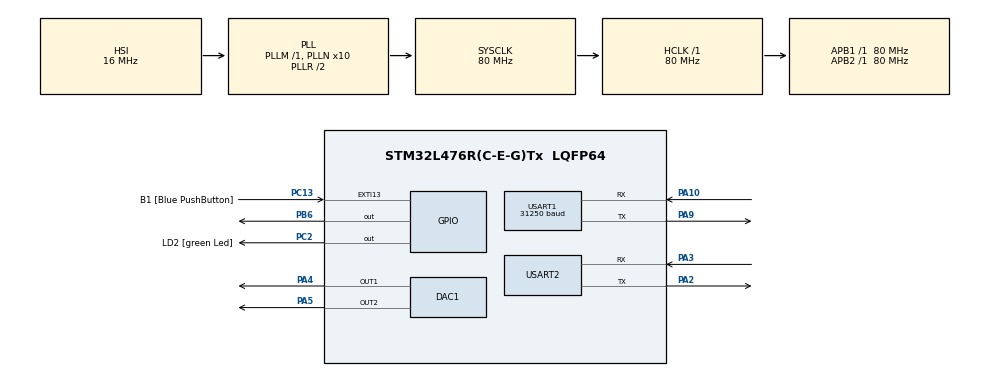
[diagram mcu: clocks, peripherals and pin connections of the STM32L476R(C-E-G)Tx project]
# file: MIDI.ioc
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DAC1.DAC_Channel-DAC_OUT2=DAC_CHANNEL_2
Mcu.Family=STM32L4
Mcu.Name=STM32L476R(C-E-G)Tx
Mcu.Package=LQFP64
NVIC.PriorityGroup=NVIC_PRIORITYGROUP_4
NVIC.USART1_IRQn=true\:0\:0\:false\:false\:true\:true\:true
NVIC.USART2_IRQn=true\:0\:0\:false\:false\:true\:true\:true
PA10.Mode=Asynchronous
PA10.Signal=USART1_RX
PA13\ (JTMS-SWDIO).GPIO_Label=TMS
PA13\ (JTMS-SWDIO).Mode=Serial_Wire
PA13\ (JTMS-SWDIO).Signal=SYS_JTMS-SWDIO
PA14\ (JTCK-SWCLK).GPIO_Label=TCK
PA14\ (JTCK-SWCLK).Mode=Serial_Wire
PA14\ (JTCK-SWCLK).Signal=SYS_JTCK-SWCLK
PA2.Mode=Asynchronous
PA2.Signal=USART2_TX
PA3.Mode=Asynchronous
PA3.Signal=USART2_RX
PA4.Signal=COMP_DAC11_group
PA5.Signal=COMP_DAC12_group
PA9.Mode=Asynchronous
PA9.Signal=USART1_TX
PB3\ (JTDO-TRACESWO).GPIO_Label=SWO
PB3\ (JTDO-TRACESWO).Signal=SYS_JTDO-SWO
PB6.Signal=GPIO_Output
PC13.GPIO_Label=B1 [Blue PushButton]
PC13.GPIO_ModeDefaultEXTI=GPIO_MODE_IT_FALLING
PC13.GPIO_PuPd=GPIO_NOPULL
PC13.Signal=GPXTI13
PC14-OSC32_IN\ (PC14).Mode=LSE-External-Oscillator
PC14-OSC32_IN\ (PC14).Signal=RCC_OSC32_IN
PC15-OSC32_OUT\ (PC15).Mode=LSE-External-Oscillator
PC15-OSC32_OUT\ (PC15).Signal=RCC_OSC32_OUT
PC2.GPIO_Label=LD2 [green Led]
PC2.Signal=GPIO_Output
PH0-OSC_IN\ (PH0).Signal=RCC_OSC_IN
PH1-OSC_OUT\ (PH1).Signal=RCC_OSC_OUT
ProjectManager.HeapSize=0x200
ProjectManager.StackSize=0x400
ProjectManager.TargetToolchain=STM32CubeIDE
RCC.ADCFreq_Value=64000000
RCC.AHBFreq_Value=80000000
RCC.APB1Freq_Value=80000000
RCC.APB1TimFreq_Value=80000000
RCC.APB2Freq_Value=80000000
RCC.APB2TimFreq_Value=80000000
RCC.CortexFreq_Value=80000000
RCC.HCLKFreq_Value=80000000
RCC.HSE_VALUE=8000000
RCC.HSI_VALUE=16000000
RCC.MSI_VALUE=4000000
RCC.PLLN=10
RCC.PLLSourceVirtual=RCC_PLLSOURCE_HSI
RCC.PREFETCH_ENABLE=1
RCC.SYSCLKFreq_VALUE=80000000
RCC.SYSCLKSource=RCC_SYSCLKSOURCE_PLLCLK
RCC.USBFreq_Value=64000000
RCC.VCOOutputFreq_Value=160000000
SH.COMP_DAC11_group.0=DAC1_OUT1,DAC_OUT1
SH.COMP_DAC12_group.0=DAC1_OUT2,DAC_OUT2
USART1.BaudRate=31250
USART1.VirtualMode-Asynchronous=VM_ASYNC
USART2.VirtualMode-Asynchronous=VM_ASYNC
board=NUCLEO-L476RG

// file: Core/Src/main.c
/* USER CODE BEGIN Header */
/**
 ******************************************************************************
 * @file           : main.c
 * @brief          : Main program body
 ******************************************************************************
 * @attention
 *
 * <h2><center>&copy; Copyright (c) 2021 STMicroelectronics.
 * All rights reserved.</center></h2>
 *
 * This software component is licensed by ST under BSD 3-Clause license,
 * the "License"; You may not use this file except in compliance with the
 * License. You may obtain a copy of the License at:
 *                        opensource.org/licenses/BSD-3-Clause
 *
 ******************************************************************************
 */
#define CIRC_BBUF_DEF(x,y)                \
    uint8_t x##_data_space[y];            \
    circ_bbuf_t x = {                     \
        .buffer = x##_data_space,         \
        .head = 0,                        \
        .tail = 0,                        \
        .maxlen = y                       \
    }
/* USER CODE END Header */
#include "main.h"

/* USER CODE BEGIN Includes */
#include <stdio.h>
#include <stdlib.h>
#include <string.h>
/* USER CODE END Includes */

/* USER CODE BEGIN PTD */
typedef struct {
	uint8_t *const buffer;
	int head;
	int tail;
	const int maxlen;
} circ_bbuf_t;
/* USER CODE END PTD */

DAC_HandleTypeDef hdac1;

UART_HandleTypeDef huart1;
UART_HandleTypeDef huart2;

/* USER CODE BEGIN PV */
uint8_t received = 0;
uint8_t current_MIDI_note = 0;
const uint8_t MIDI_note_number_offset = 48;
const uint8_t number_of_notes = 33;

const uint16_t default_pitch_bend_value = 8192;
uint16_t current_pitch_bend = 8192;
const uint16_t DAC_OUT[33] = { 124, 248, 372, 496, 620, 745, 869, 993, 1117, 1241, 1365, 1482, 		// 0.1V - 1.2V
		1608, 1730, 1855, 1980, 2100, 2220, 2345, 2470, 2590, 2710, 2835, 2960, // 1.3V - 2.4V
		3075, 3205, 3330, 3450, 3570, 3690, 3820, 3945, 4095, 	// 2.5V - 3.3V
		};

CIRC_BBUF_DEF(data_buffer, 16);

/* USER CODE END PV */

void SystemClock_Config(void);
static void MX_GPIO_Init(void);
static void MX_USART1_UART_Init(void);
static void MX_DAC1_Init(void);
static void MX_USART2_UART_Init(void);
/* USER CODE BEGIN PFP */
/* Private function prototypes -----------------------------------------------*/
int circ_bbuf_push(circ_bbuf_t *c, uint8_t data) {
	int next;

	next = c->head + 1;  // next is where head will point to after this write.
	if (next >= c->maxlen)
		next = 0;

	if (next == c->tail)  // if the head + 1 == tail, circular buffer is full
		return -1;

	c->buffer[c->head] = data;  // Load data and then move
	c->head = next;             // head to next data offset.
	return 0;  // return success to indicate successful push.
}

int circ_bbuf_pop(circ_bbuf_t *c, uint8_t *data) {
	int next;

	if (c->head == c->tail)  // if the head == tail, we don't have any data
		return -1;

	next = c->tail + 1;  // next is where tail will point to after this read.
	if (next >= c->maxlen)
		next = 0;

	*data = c->buffer[c->tail];  // Read data and then move
	c->tail = next;              // tail to next offset.
	return 0;  // return success to indicate successful push.
}

void HAL_UART_RxCpltCallback(UART_HandleTypeDef *huart) {
	circ_bbuf_push(&data_buffer, received);
	HAL_UART_Receive_IT(&huart2, &received, 1); // Start listening again for UART messages over USB
	HAL_UART_Receive_IT(&huart1, &received, 1); // Start listening again for UART messages over PIN D2/PA10
	/*
	uint8_t data_received[20] = "data received\r\n";
	uint16_t data_received_size = 20;
	*/
	// HAL_UART_Transmit(&huart2, "rec\r\n", strlen("rec\r\n"), 1000);
}

void print_uart(char message[], uint16_t byte) {
    uint8_t message_to_print[50];
    uint16_t message_to_print_size = 0;

    message_to_print_size = sprintf(message_to_print, message, byte, byte, byte);
    HAL_UART_Transmit(&huart2, message_to_print, message_to_print_size, 1000); // Send data over UART
}

void debug_led_set() {
	HAL_GPIO_WritePin(GPIOC, GPIO_PIN_2, GPIO_PIN_SET);
}

void debug_led_unset() {
	HAL_GPIO_WritePin(GPIOC, GPIO_PIN_2, GPIO_PIN_RESET);
}

void debug_message() {
	for (int i = 0; i < 5; i++) {
		debug_led_unset();
		HAL_Delay(100);
		debug_led_set();
		HAL_Delay(100);
	}
	debug_led_unset();
}

uint16_t calculate_pitch() {
	float pitch_bend_percent = 0;
	uint16_t result_pitch = DAC_OUT[current_MIDI_note - MIDI_note_number_offset];

	// Check if pitch bend in default state
	if (current_pitch_bend == default_pitch_bend_value)
		return result_pitch;

	// Pitch bend up to +0.2V
	if (current_pitch_bend > default_pitch_bend_value) {
		//debug_message();
		pitch_bend_percent = (current_pitch_bend - (default_pitch_bend_value - 1)) / 8192.0;
		result_pitch += (uint16_t) DAC_OUT[1] * pitch_bend_percent;

		// Pitch bend down to -0.2V
	} else if (current_pitch_bend < default_pitch_bend_value) {
		// debug_message();
		pitch_bend_percent = abs(current_pitch_bend - default_pitch_bend_value) / 8192.0;
		result_pitch -= (uint16_t) DAC_OUT[1] * pitch_bend_percent;
	}

	return result_pitch;
}

uint16_t calculate_modulation(uint8_t modulation_value) {
	float modulation_percent = modulation_value / 127.0;
	return (uint16_t) DAC_OUT[number_of_notes - 1] * modulation_percent;
}

void set_gate() {
	HAL_GPIO_WritePin(GPIOB, GPIO_PIN_6, GPIO_PIN_SET);
}

void unset_gate() {
	HAL_GPIO_WritePin(GPIOB, GPIO_PIN_6, GPIO_PIN_RESET);
}

void set_pitch(uint16_t value) {
	print_uart("  PITCH: 0x%x => %u \r\n", value);
	DAC1->DHR12R1 = value;
}

void set_modulation(uint16_t value) {
	print_uart("  MODULATION: 0x%x => %u \r\n", value);
	DAC1->DHR12R2 = value;
}

void parse_MIDI_message() {
	uint8_t MIDI_byte = 0, MIDI_note = 0, note_index = 0;

	// pop 1st MIDI byte (MIDI Status)
	if (circ_bbuf_pop(&data_buffer, &MIDI_byte) == -1) {
		return; // return if buffet is empty
	}
	print_uart("  Status: 0x%x => %u \r\n", MIDI_byte);

	// NOTE ON
	if (MIDI_byte >> 4 == 0b1001) {
		debug_led_set(); // LED ON

		circ_bbuf_pop(&data_buffer, &MIDI_byte); // pop 2nd MIDI byte (MIDI note)
		print_uart("  Note on: 0x%x => %u \r\n", MIDI_byte);

		note_index = MIDI_byte - MIDI_note_number_offset; // MIDI_byte - 48
		MIDI_note = MIDI_byte;

		circ_bbuf_pop(&data_buffer, &MIDI_byte); // pop 3rd MIDI byte (MIDI Velocity)
		print_uart("  Velocity: 0x%x => %u \r\n", MIDI_byte);

		// NOTE ON + Velocity = 0 --> NOTE OFF
		if (MIDI_byte == 0 && current_MIDI_note == MIDI_note) {
			set_pitch(0); // set PITCH to 0
			unset_gate(); // unset GATE
		} else if (note_index <= number_of_notes && MIDI_note >= MIDI_note_number_offset) {
			current_MIDI_note = MIDI_note; // set note to global variable
			set_pitch(calculate_pitch()); // set pitch to calculated value
			set_gate(); // set GATE
		}
		// NOTE OFF
	} else if (MIDI_byte >> 4 == 0b1000) {
		circ_bbuf_pop(&data_buffer, &MIDI_byte); // pop 2nd  MIDI byte (MIDI Note)
		print_uart("  Note off: 0x%x => %u \r\n", MIDI_byte);

		note_index = MIDI_byte - MIDI_note_number_offset; // MIDI_byte - 48
		MIDI_note = MIDI_byte;

		circ_bbuf_pop(&data_buffer, &MIDI_byte); // pop 3rd MIDI byte (MIDI Velocity)
		print_uart("  Velocity: 0x%x => %u \r\n", MIDI_byte);

		// check if released note = current MIDI note
		if (MIDI_note == current_MIDI_note) {
			debug_led_unset(); // LED OFF
			set_pitch(0); // set PITCH to 0
			unset_gate(); // unset GATE
		}
		// PITCH BEND
	} else if (MIDI_byte >> 4 == 0b1110) {
		uint8_t msb = 0; // most significant byte
		uint8_t lsb = 0; // least significant byte

		// debug_led_unset(); // LED OFF

		circ_bbuf_pop(&data_buffer, &lsb); // pop 2nd MIDI byte (least significant byte)
		print_uart("  LSB: 0x%x => %u \r\n", lsb);

		circ_bbuf_pop(&data_buffer, &msb); // pop 3rd MIDI byte (most significant byte)
		print_uart("  MSB: 0x%x => %u \r\n", msb);

		current_pitch_bend = (msb << 7) + lsb; // calculate pitch_bend
		print_uart("  MSB << 7: 0x%x => %u \r\n", msb << 7);
		print_uart("  Pitch bend: 0x%x => %u \r\n", current_pitch_bend);

		set_pitch(calculate_pitch()); // set pitch to calculated value

		// MODULATION (CONTROL CHANGE)
	} else if (MIDI_byte >> 4 == 0b1011) {
		uint8_t modulation_value = 0;
		debug_led_set();

		circ_bbuf_pop(&data_buffer, &MIDI_byte); // pop 2nd MIDI byte (controller number)
		print_uart("  Controller Number: 0x%x => %u \r\n", MIDI_byte);

		circ_bbuf_pop(&data_buffer, &MIDI_byte); // pop 3rd MIDI byte (actual value)
		print_uart("  Value: 0x%x => %u \r\n", MIDI_byte);

		modulation_value = MIDI_byte;

		set_modulation(calculate_modulation(modulation_value));
		// WRONG STATUS
	} else {
		return;
	}
}
/* USER CODE END PFP */

int main(void)
{

  /* MCU Configuration--------------------------------------------------------*/

  /* Reset of all peripherals, Initializes the Flash interface and the Systick. */
  HAL_Init();

  /* USER CODE BEGIN Init */
	set_pitch(0);
	set_gate(0);
	set_modulation(0);
  /* USER CODE END Init */

  /* Configure the system clock */
  SystemClock_Config();

  /* Initialize all configured peripherals */
  MX_GPIO_Init();
  MX_USART1_UART_Init();
  MX_DAC1_Init();
  MX_USART2_UART_Init();
  /* USER CODE BEGIN 2 */
	HAL_UART_Receive_IT(&huart2, &received, 1);
	HAL_UART_Receive_IT(&huart1, &received, 1);
  /* USER CODE END 2 */

  /* Infinite loop */
  /* USER CODE BEGIN WHILE */
	HAL_DAC_Start(&hdac1, DAC1_CHANNEL_1);
	HAL_DAC_Start(&hdac1, DAC1_CHANNEL_2);
	while (1) {
		parse_MIDI_message();
    /* USER CODE END WHILE */

	}
}

void SystemClock_Config(void)
{
  RCC_OscInitTypeDef RCC_OscInitStruct = {0};
  RCC_ClkInitTypeDef RCC_ClkInitStruct = {0};

  /** Configure the main internal regulator output voltage
  */
  if (HAL_PWREx_ControlVoltageScaling(PWR_REGULATOR_VOLTAGE_SCALE1) != HAL_OK)
  {
    Error_Handler();
  }
  /** Initializes the RCC Oscillators according to the specified parameters
  * in the RCC_OscInitTypeDef structure.
  */
  RCC_OscInitStruct.OscillatorType = RCC_OSCILLATORTYPE_HSI;
  RCC_OscInitStruct.HSIState = RCC_HSI_ON;
  RCC_OscInitStruct.HSICalibrationValue = RCC_HSICALIBRATION_DEFAULT;
  RCC_OscInitStruct.PLL.PLLState = RCC_PLL_ON;
  RCC_OscInitStruct.PLL.PLLSource = RCC_PLLSOURCE_HSI;
  RCC_OscInitStruct.PLL.PLLM = 1;
  RCC_OscInitStruct.PLL.PLLN = 10;
  RCC_OscInitStruct.PLL.PLLP = RCC_PLLP_DIV7;
  RCC_OscInitStruct.PLL.PLLQ = RCC_PLLQ_DIV2;
  RCC_OscInitStruct.PLL.PLLR = RCC_PLLR_DIV2;
  if (HAL_RCC_OscConfig(&RCC_OscInitStruct) != HAL_OK)
  {
    Error_Handler();
  }
  /** Initializes the CPU, AHB and APB buses clocks
  */
  RCC_ClkInitStruct.ClockType = RCC_CLOCKTYPE_HCLK|RCC_CLOCKTYPE_SYSCLK
                              |RCC_CLOCKTYPE_PCLK1|RCC_CLOCKTYPE_PCLK2;
  RCC_ClkInitStruct.SYSCLKSource = RCC_SYSCLKSOURCE_PLLCLK;
  RCC_ClkInitStruct.AHBCLKDivider = RCC_SYSCLK_DIV1;
  RCC_ClkInitStruct.APB1CLKDivider = RCC_HCLK_DIV1;
  RCC_ClkInitStruct.APB2CLKDivider = RCC_HCLK_DIV1;

  if (HAL_RCC_ClockConfig(&RCC_ClkInitStruct, FLASH_LATENCY_4) != HAL_OK)
  {
    Error_Handler();
  }
}

static void MX_DAC1_Init(void)
{

  DAC_ChannelConfTypeDef sConfig = {0};

  /** DAC Initialization
  */
  hdac1.Instance = DAC1;
  if (HAL_DAC_Init(&hdac1) != HAL_OK)
  {
    Error_Handler();
  }
  /** DAC channel OUT1 config
  */
  sConfig.DAC_SampleAndHold = DAC_SAMPLEANDHOLD_DISABLE;
  sConfig.DAC_Trigger = DAC_TRIGGER_NONE;
  sConfig.DAC_OutputBuffer = DAC_OUTPUTBUFFER_ENABLE;
  sConfig.DAC_ConnectOnChipPeripheral = DAC_CHIPCONNECT_DISABLE;
  sConfig.DAC_UserTrimming = DAC_TRIMMING_FACTORY;
  if (HAL_DAC_ConfigChannel(&hdac1, &sConfig, DAC_CHANNEL_1) != HAL_OK)
  {
    Error_Handler();
  }
  /** DAC channel OUT2 config
  */
  if (HAL_DAC_ConfigChannel(&hdac1, &sConfig, DAC_CHANNEL_2) != HAL_OK)
  {
    Error_Handler();
  }

}

static void MX_USART1_UART_Init(void)
{

  huart1.Instance = USART1;
  huart1.Init.BaudRate = 31250;
  huart1.Init.WordLength = UART_WORDLENGTH_8B;
  huart1.Init.StopBits = UART_STOPBITS_1;
  huart1.Init.Parity = UART_PARITY_NONE;
  huart1.Init.Mode = UART_MODE_TX_RX;
  huart1.Init.HwFlowCtl = UART_HWCONTROL_NONE;
  huart1.Init.OverSampling = UART_OVERSAMPLING_16;
  huart1.Init.OneBitSampling = UART_ONE_BIT_SAMPLE_DISABLE;
  huart1.AdvancedInit.AdvFeatureInit = UART_ADVFEATURE_NO_INIT;
  if (HAL_UART_Init(&huart1) != HAL_OK)
  {
    Error_Handler();
  }

}

static void MX_USART2_UART_Init(void)
{

  huart2.Instance = USART2;
  huart2.Init.BaudRate = 115200;
  huart2.Init.WordLength = UART_WORDLENGTH_8B;
  huart2.Init.StopBits = UART_STOPBITS_1;
  huart2.Init.Parity = UART_PARITY_NONE;
  huart2.Init.Mode = UART_MODE_TX_RX;
  huart2.Init.HwFlowCtl = UART_HWCONTROL_NONE;
  huart2.Init.OverSampling = UART_OVERSAMPLING_16;
  huart2.Init.OneBitSampling = UART_ONE_BIT_SAMPLE_DISABLE;
  huart2.AdvancedInit.AdvFeatureInit = UART_ADVFEATURE_NO_INIT;
  if (HAL_UART_Init(&huart2) != HAL_OK)
  {
    Error_Handler();
  }

}

static void MX_GPIO_Init(void)
{
  GPIO_InitTypeDef GPIO_InitStruct = {0};

  /* GPIO Ports Clock Enable */
  __HAL_RCC_GPIOC_CLK_ENABLE();
  __HAL_RCC_GPIOH_CLK_ENABLE();
  __HAL_RCC_GPIOA_CLK_ENABLE();
  __HAL_RCC_GPIOB_CLK_ENABLE();

  /*Configure GPIO pin Output Level */
  HAL_GPIO_WritePin(LD2_GPIO_Port, LD2_Pin, GPIO_PIN_RESET);

  /*Configure GPIO pin Output Level */
  HAL_GPIO_WritePin(GPIOB, GPIO_PIN_6, GPIO_PIN_RESET);

  /*Configure GPIO pin : B1_Pin */
  GPIO_InitStruct.Pin = B1_Pin;
  GPIO_InitStruct.Mode = GPIO_MODE_IT_FALLING;
  GPIO_InitStruct.Pull = GPIO_NOPULL;
  HAL_GPIO_Init(B1_GPIO_Port, &GPIO_InitStruct);

  /*Configure GPIO pin : LD2_Pin */
  GPIO_InitStruct.Pin = LD2_Pin;
  GPIO_InitStruct.Mode = GPIO_MODE_OUTPUT_PP;
  GPIO_InitStruct.Pull = GPIO_NOPULL;
  GPIO_InitStruct.Speed = GPIO_SPEED_FREQ_LOW;
  HAL_GPIO_Init(LD2_GPIO_Port, &GPIO_InitStruct);

  /*Configure GPIO pin : PB6 */
  GPIO_InitStruct.Pin = GPIO_PIN_6;
  GPIO_InitStruct.Mode = GPIO_MODE_OUTPUT_PP;
  GPIO_InitStruct.Pull = GPIO_NOPULL;
  GPIO_InitStruct.Speed = GPIO_SPEED_FREQ_LOW;
  HAL_GPIO_Init(GPIOB, &GPIO_InitStruct);

}

void Error_Handler(void)
{
	__disable_irq();
	while (1) {
	}
}

/************************ (C) COPYRIGHT STMicroelectronics *****END OF FILE****/
